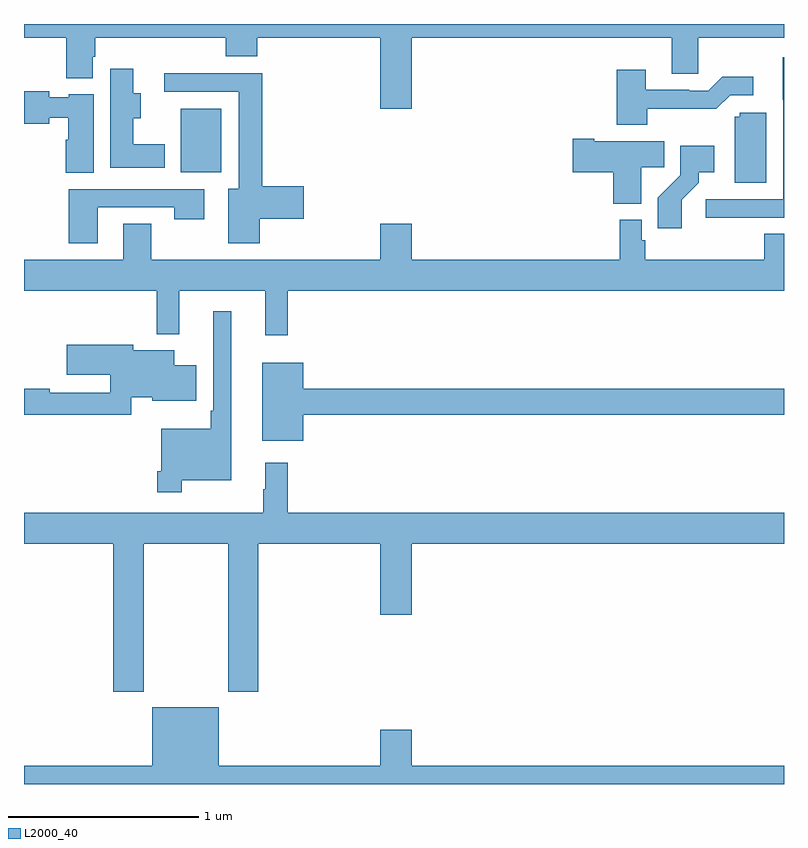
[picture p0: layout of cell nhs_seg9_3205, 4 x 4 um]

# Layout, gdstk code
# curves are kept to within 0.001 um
import gdstk
lib = gdstk.Library(unit=1e-6, precision=1e-09)
def R(c, l, rs):  # rectangles x0, y0, x1, y1
    for r in rs: c.add(gdstk.rectangle(r[:2], r[2:], *l))
def P(c, l, *ps):  # polygons
    for p in ps: c.add(gdstk.Polygon(p, *l))
L2000_40 = (2000, 40)

nhs_seg9_3205 = lib.new_cell('nhs_seg9_3205')
R(nhs_seg9_3205, L2000_40, [(295.826,1187.72,296.038,1188.055)])
P(nhs_seg9_3205, L2000_40, [(297.04,1188.428),(298.409,1188.428),(298.409,1188.238),(298.548,1188.238),(298.548,1188.428),(299,1188.428),(299,1188.5),(295,1188.5),(295,1188.428),(295.223,1188.428),(295.223,1188.215),(295.363,1188.215),(295.363,1188.327),(295.376,1188.327),(295.376,1188.428),(296.063,1188.428),(296.063,1188.329),(296.228,1188.329),(296.228,1188.428),(296.876,1188.428),(296.876,1188.054),(297.04,1188.054)],
  [(298.811,1187.481),(299,1187.481),(299,1188.325),(298.994,1188.325),(298.994,1188.102),(298.995,1188.102),(298.995,1187.577),(298.587,1187.577),(298.587,1187.479),(298.811,1187.479)],
  [(295.741,1187.866),(295.576,1187.866),(295.576,1188.005),(295.615,1188.005),(295.615,1188.135),(295.576,1188.135),(295.576,1188.265),(295.454,1188.265),(295.454,1187.744),(295.741,1187.744)],
  [(298.281,1188.054),(298.643,1188.053),(298.716,1188.126),(298.837,1188.126),(298.837,1188.223),(298.675,1188.223),(298.602,1188.15),(298.502,1188.15),(298.502,1188.153),(298.273,1188.153),(298.273,1188.259),(298.121,1188.259),(298.121,1187.969),(298.281,1187.969)],
  [(296.242,1187.474),(296.473,1187.474),(296.473,1187.645),(296.255,1187.645),(296.255,1188.242),(295.737,1188.242),(295.737,1188.144),(296.129,1188.144),(296.129,1187.632),(296.075,1187.632),(296.075,1187.346),(296.242,1187.346)],
  [(295.366,1188.13),(295.236,1188.13),(295.236,1188.114),(295.132,1188.114),(295.132,1188.145),(295,1188.145),(295,1187.975),(295.132,1187.975),(295.132,1188.006),(295.232,1188.006),(295.232,1187.891),(295.22,1187.891),(295.22,1187.716),(295.366,1187.716)],
  [(298.906,1188.033),(298.767,1188.033),(298.767,1188.012),(298.742,1188.012),(298.742,1187.664),(298.906,1187.664)],
  [(298.249,1187.746),(298.37,1187.746),(298.37,1187.884),(298,1187.884),(298,1187.897),(297.888,1187.897),(297.888,1187.719),(298.1,1187.719),(298.1,1187.555),(298.249,1187.555)],
  [(298.462,1187.575),(298.552,1187.665),(298.552,1187.72),(298.633,1187.72),(298.633,1187.86),(298.455,1187.86),(298.455,1187.705),(298.336,1187.586),(298.336,1187.424),(298.462,1187.424)],
  [(295.387,1187.535),(295.792,1187.535),(295.792,1187.472),(295.948,1187.472),(295.948,1187.631),(295.235,1187.631),(295.235,1187.346),(295.387,1187.346)],
  [(296.387,1187.096),(299,1187.096),(299,1187.396),(298.895,1187.396),(298.895,1187.26),(298.271,1187.26),(298.271,1187.361),(298.251,1187.361),(298.251,1187.47),(298.135,1187.47),(298.135,1187.26),(297.04,1187.26),(297.04,1187.449),(296.876,1187.449),(296.876,1187.26),(295.671,1187.26),(295.671,1187.45),(295.523,1187.45),(295.523,1187.26),(295,1187.26),(295,1187.096),(295.699,1187.096),(295.699,1186.868),(295.817,1186.868),(295.817,1187.096),(296.27,1187.096),(296.27,1186.863),(296.387,1186.863)],
  [(295.831,1186.1),(296.092,1186.1),(296.092,1186.987),(295.995,1186.987),(295.995,1186.465),(295.983,1186.465),(295.983,1186.369),(295.722,1186.369),(295.722,1186.147),(295.702,1186.147),(295.702,1186.035),(295.831,1186.035)],
  [(295.564,1186.535),(295.674,1186.535),(295.674,1186.517),(295.906,1186.517),(295.906,1186.705),(295.792,1186.705),(295.792,1186.783),(295.576,1186.783),(295.576,1186.813),(295.224,1186.813),(295.224,1186.655),(295.454,1186.655),(295.454,1186.56),(295.136,1186.56),(295.136,1186.58),(295,1186.58),(295,1186.444),(295.564,1186.444)],
  [(296.47,1186.444),(299,1186.444),(299,1186.58),(296.47,1186.58),(296.47,1186.717),(296.255,1186.717),(296.255,1186.307),(296.47,1186.307)],
  [(295.629,1185.764),(296.074,1185.764),(296.074,1184.985),(296.234,1184.985),(296.234,1185.764),(296.876,1185.764),(296.876,1185.39),(297.04,1185.39),(297.04,1185.764),(299,1185.764),(299,1185.928),(296.387,1185.928),(296.387,1186.192),(296.27,1186.192),(296.27,1186.052),(296.259,1186.052),(296.259,1185.928),(295,1185.928),(295,1185.764),(295.469,1185.764),(295.469,1184.985),(295.629,1184.985)],
  [(299,1184.596),(297.04,1184.596),(297.04,1184.785),(296.876,1184.785),(296.876,1184.596),(296.026,1184.596),(296.026,1184.905),(295.676,1184.905),(295.676,1184.596),(295,1184.596),(295,1184.5),(299,1184.5)])

lib.write_gds('nhs_seg9_3205.gds')
